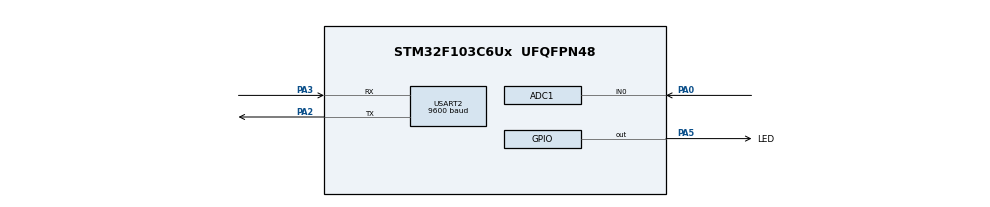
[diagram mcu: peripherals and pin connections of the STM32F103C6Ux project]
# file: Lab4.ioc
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ADC1.Channel-0\#ChannelRegularConversion=ADC_CHANNEL_0
ADC1.ContinuousConvMode=ENABLE
ADC1.NbrOfConversionFlag=1
ADC1.Rank-0\#ChannelRegularConversion=1
ADC1.SamplingTime-0\#ChannelRegularConversion=ADC_SAMPLETIME_1CYCLE_5
ADC1.master=1
Mcu.Family=STM32F1
Mcu.Name=STM32F103C6Ux
Mcu.Package=UFQFPN48
NVIC.PriorityGroup=NVIC_PRIORITYGROUP_4
NVIC.TIM2_IRQn=true\:0\:0\:false\:false\:true\:true\:true
NVIC.USART2_IRQn=true\:0\:0\:false\:false\:true\:true\:true
PA0-WKUP.Signal=ADCx_IN0
PA2.Mode=Asynchronous
PA2.Signal=USART2_TX
PA3.Mode=Asynchronous
PA3.Signal=USART2_RX
PA5.GPIO_Label=LED
PA5.Signal=GPIO_Output
ProjectManager.HeapSize=0x200
ProjectManager.StackSize=0x400
ProjectManager.TargetToolchain=STM32CubeIDE
RCC.APB1Freq_Value=8000000
RCC.APB2Freq_Value=8000000
SH.ADCx_IN0.0=ADC1_IN0,IN0
TIM2.Period=9
TIM2.Prescaler=7999
USART2.BaudRate=9600
USART2.VirtualMode=VM_ASYNC
VP_SYS_VS_ND.Mode=No_Debug
VP_TIM2_VS_ClockSourceINT.Mode=Internal
board=custom

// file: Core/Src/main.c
/* USER CODE BEGIN Header */
/**
  ******************************************************************************
  * @file           : main.c
  * @brief          : Main program body
  ******************************************************************************
  * @attention
  *
  * <h2><center>&copy; Copyright (c) 2023 STMicroelectronics.
  * All rights reserved.</center></h2>
  *
  * This software component is licensed by ST under BSD 3-Clause license,
  * the "License"; You may not use this file except in compliance with the
  * License. You may obtain a copy of the License at:
  *                        opensource.org/licenses/BSD-3-Clause
  *
  ******************************************************************************
  */
/* USER CODE END Header */
#include "main.h"

/* USER CODE BEGIN Includes */
#include "uart_communication.h"
#include "command_parser.h"
#include "software_timer.h"
/* USER CODE END Includes */

ADC_HandleTypeDef hadc1;

TIM_HandleTypeDef htim2;

UART_HandleTypeDef huart2;

void SystemClock_Config(void);
static void MX_GPIO_Init(void);
static void MX_ADC1_Init(void);
static void MX_USART2_UART_Init(void);
static void MX_TIM2_Init(void);

int main(void)
{

  /* MCU Configuration--------------------------------------------------------*/

  /* Reset of all peripherals, Initializes the Flash interface and the Systick. */
  HAL_Init();

  /* Configure the system clock */
  SystemClock_Config();

  /* Initialize all configured peripherals */
  MX_GPIO_Init();
  MX_ADC1_Init();
  MX_USART2_UART_Init();
  MX_TIM2_Init();
  /* USER CODE BEGIN 2 */
  HAL_TIM_Base_Start_IT(&htim2);

  uint8_t pData[] = "My protocol is getting started...\r\n";
   HAL_Delay(1000);
   HAL_UART_Transmit(&huart2, pData, sizeof(pData), 1000);
  HAL_UART_Receive_IT(&huart2 ,&temp , 1);
  /* USER CODE END 2 */

  /* Infinite loop */
  while (1)
  {
	  if(buffer_flag == 1) {
		  command_parser_fsm();
		  buffer_flag = 0;
	  }
	  uart_communiation_fsm();
  }
}

void SystemClock_Config(void)
{
  RCC_OscInitTypeDef RCC_OscInitStruct = {0};
  RCC_ClkInitTypeDef RCC_ClkInitStruct = {0};
  RCC_PeriphCLKInitTypeDef PeriphClkInit = {0};

  /** Initializes the RCC Oscillators according to the specified parameters
  * in the RCC_OscInitTypeDef structure.
  */
  RCC_OscInitStruct.OscillatorType = RCC_OSCILLATORTYPE_HSI;
  RCC_OscInitStruct.HSIState = RCC_HSI_ON;
  RCC_OscInitStruct.HSICalibrationValue = RCC_HSICALIBRATION_DEFAULT;
  RCC_OscInitStruct.PLL.PLLState = RCC_PLL_NONE;
  if (HAL_RCC_OscConfig(&RCC_OscInitStruct) != HAL_OK)
  {
    Error_Handler();
  }
  /** Initializes the CPU, AHB and APB buses clocks
  */
  RCC_ClkInitStruct.ClockType = RCC_CLOCKTYPE_HCLK|RCC_CLOCKTYPE_SYSCLK
                              |RCC_CLOCKTYPE_PCLK1|RCC_CLOCKTYPE_PCLK2;
  RCC_ClkInitStruct.SYSCLKSource = RCC_SYSCLKSOURCE_HSI;
  RCC_ClkInitStruct.AHBCLKDivider = RCC_SYSCLK_DIV1;
  RCC_ClkInitStruct.APB1CLKDivider = RCC_HCLK_DIV1;
  RCC_ClkInitStruct.APB2CLKDivider = RCC_HCLK_DIV1;

  if (HAL_RCC_ClockConfig(&RCC_ClkInitStruct, FLASH_LATENCY_0) != HAL_OK)
  {
    Error_Handler();
  }
  PeriphClkInit.PeriphClockSelection = RCC_PERIPHCLK_ADC;
  PeriphClkInit.AdcClockSelection = RCC_ADCPCLK2_DIV2;
  if (HAL_RCCEx_PeriphCLKConfig(&PeriphClkInit) != HAL_OK)
  {
    Error_Handler();
  }
}

static void MX_ADC1_Init(void)
{

  ADC_ChannelConfTypeDef sConfig = {0};

  /** Common config
  */
  hadc1.Instance = ADC1;
  hadc1.Init.ScanConvMode = ADC_SCAN_DISABLE;
  hadc1.Init.ContinuousConvMode = ENABLE;
  hadc1.Init.DiscontinuousConvMode = DISABLE;
  hadc1.Init.ExternalTrigConv = ADC_SOFTWARE_START;
  hadc1.Init.DataAlign = ADC_DATAALIGN_RIGHT;
  hadc1.Init.NbrOfConversion = 1;
  if (HAL_ADC_Init(&hadc1) != HAL_OK)
  {
    Error_Handler();
  }
  /** Configure Regular Channel
  */
  sConfig.Channel = ADC_CHANNEL_0;
  sConfig.Rank = ADC_REGULAR_RANK_1;
  sConfig.SamplingTime = ADC_SAMPLETIME_1CYCLE_5;
  if (HAL_ADC_ConfigChannel(&hadc1, &sConfig) != HAL_OK)
  {
    Error_Handler();
  }

}

static void MX_TIM2_Init(void)
{

  TIM_ClockConfigTypeDef sClockSourceConfig = {0};
  TIM_MasterConfigTypeDef sMasterConfig = {0};

  htim2.Instance = TIM2;
  htim2.Init.Prescaler = 7999;
  htim2.Init.CounterMode = TIM_COUNTERMODE_UP;
  htim2.Init.Period = 9;
  htim2.Init.ClockDivision = TIM_CLOCKDIVISION_DIV1;
  htim2.Init.AutoReloadPreload = TIM_AUTORELOAD_PRELOAD_DISABLE;
  if (HAL_TIM_Base_Init(&htim2) != HAL_OK)
  {
    Error_Handler();
  }
  sClockSourceConfig.ClockSource = TIM_CLOCKSOURCE_INTERNAL;
  if (HAL_TIM_ConfigClockSource(&htim2, &sClockSourceConfig) != HAL_OK)
  {
    Error_Handler();
  }
  sMasterConfig.MasterOutputTrigger = TIM_TRGO_RESET;
  sMasterConfig.MasterSlaveMode = TIM_MASTERSLAVEMODE_DISABLE;
  if (HAL_TIMEx_MasterConfigSynchronization(&htim2, &sMasterConfig) != HAL_OK)
  {
    Error_Handler();
  }

}

static void MX_USART2_UART_Init(void)
{

  huart2.Instance = USART2;
  huart2.Init.BaudRate = 9600;
  huart2.Init.WordLength = UART_WORDLENGTH_8B;
  huart2.Init.StopBits = UART_STOPBITS_1;
  huart2.Init.Parity = UART_PARITY_NONE;
  huart2.Init.Mode = UART_MODE_TX_RX;
  huart2.Init.HwFlowCtl = UART_HWCONTROL_NONE;
  huart2.Init.OverSampling = UART_OVERSAMPLING_16;
  if (HAL_UART_Init(&huart2) != HAL_OK)
  {
    Error_Handler();
  }

}

static void MX_GPIO_Init(void)
{
  GPIO_InitTypeDef GPIO_InitStruct = {0};

  /* GPIO Ports Clock Enable */
  __HAL_RCC_GPIOA_CLK_ENABLE();

  /*Configure GPIO pin Output Level */
  HAL_GPIO_WritePin(LED_GPIO_Port, LED_Pin, GPIO_PIN_RESET);

  /*Configure GPIO pin : LED_Pin */
  GPIO_InitStruct.Pin = LED_Pin;
  GPIO_InitStruct.Mode = GPIO_MODE_OUTPUT_PP;
  GPIO_InitStruct.Pull = GPIO_NOPULL;
  GPIO_InitStruct.Speed = GPIO_SPEED_FREQ_LOW;
  HAL_GPIO_Init(LED_GPIO_Port, &GPIO_InitStruct);

}

/* USER CODE BEGIN 4 */
void HAL_UART_RxCpltCallback(UART_HandleTypeDef *huart) {
	if (huart->Instance == USART2) {
		buffer[index_buffer] = temp;
		index_buffer = (index_buffer + 1) % MAX_BUFFER_SIZE;
		buffer_flag = 1;
		HAL_UART_Transmit(&huart2, &temp, 1, 1000);
		HAL_UART_Receive_IT(&huart2, &temp, 1);
	}
}

void HAL_TIM_PeriodElapsedCallback(TIM_HandleTypeDef *htim) {
	timerRun();
}
/* USER CODE END 4 */

void Error_Handler(void)
{
  __disable_irq();
  while (1)
  {
  }
}

/************************ (C) COPYRIGHT STMicroelectronics *****END OF FILE****/
